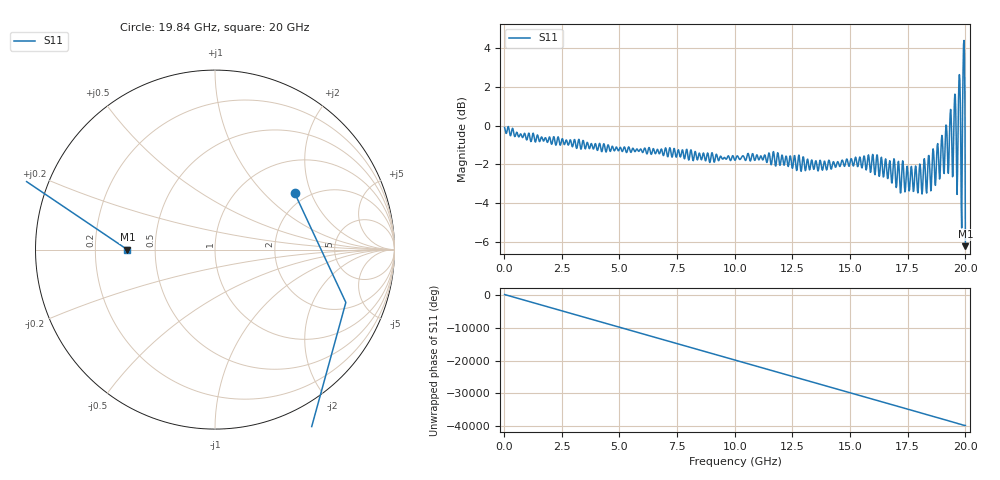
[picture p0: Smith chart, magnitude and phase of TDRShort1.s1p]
! File created by SignalIntegrity v1.3.3: Signal and Power Integrity Tools
! https://github.com/TeledyneLeCroy/SignalIntegrity
# MHz S MA R 50.0
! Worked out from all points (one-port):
!   1000 points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, 20 MHz to 20 GHz, reference 50 ohm
!   lowest |S11| = -6.2 dB at 20 GHz (marker M1), VSWR 2.91, Z = 17.2 + j2.7e-15 ohm
!   |S11| at or under -10 dB: nowhere
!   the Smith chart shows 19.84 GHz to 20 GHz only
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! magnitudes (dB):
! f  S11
! 20 MHz  -0.1
! 2.52 GHz  -0.7
! 5.02 GHz  -1.1
! 7.52 GHz  -1.4
! 10.02 GHz  -1.8
! 12.52 GHz  -2.1
! 13.52 GHz  -1.8
! 15.02 GHz  -1.8
! 16.08 GHz  -2.5
! 17.52 GHz  -2.8
! 18.42 GHz  -1.5
! 18.7 GHz  -3.1
! 18.8 GHz  -0.9
! 18.9 GHz  -2.6
! 18.98 GHz  -0.5
! 19.08 GHz  -2.5
! 19.18 GHz  0.0
! 19.28 GHz  -2.0
! 19.36 GHz  0.8
! 19.46 GHz  -2.6
! 19.56 GHz  1.6
! 19.66 GHz  -2.4
! 19.74 GHz  2.6
! 19.86 GHz  -2.1
! 19.88 GHz  1.0
! 19.92 GHz  4.2
! 19.96 GHz  3.7
! 20 GHz  -6.2
